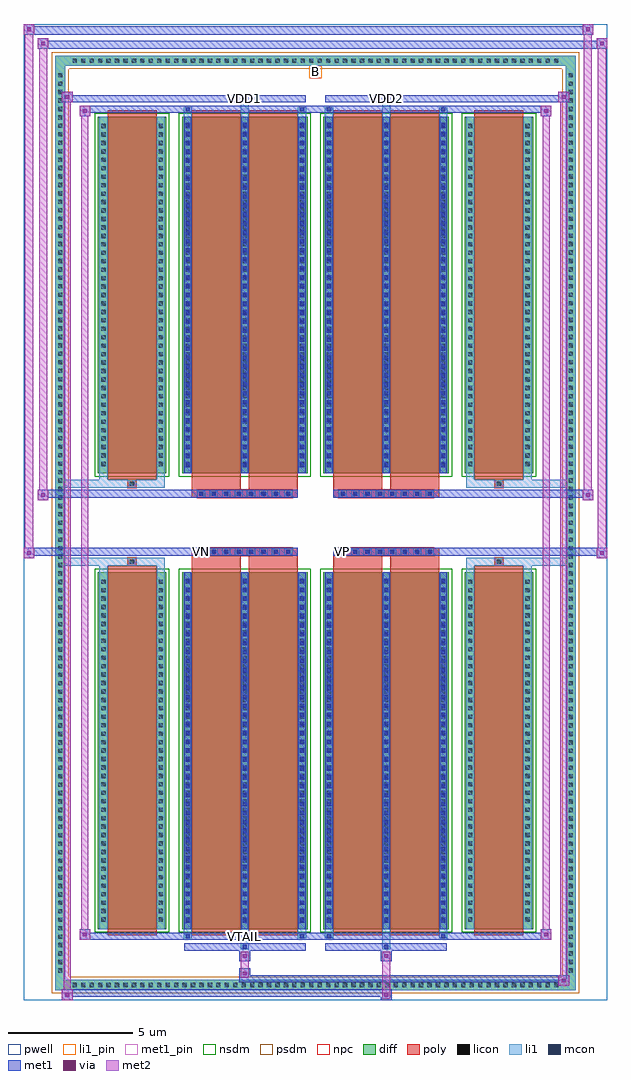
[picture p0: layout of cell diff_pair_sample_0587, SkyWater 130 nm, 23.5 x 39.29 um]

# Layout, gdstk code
import gdstk
lib = gdstk.Library(unit=1e-6, precision=5e-09)
def R(c, l, rs):  # rectangles x0, y0, x1, y1
    for r in rs: c.add(gdstk.rectangle(r[:2], r[2:], *l))
def A(c, l, x, y, w, h, nx, ny, dx, dy):  # array of equal rectangles
    R(c, l, [(x+i*dx, y+j*dy, x+i*dx+w, y+j*dy+h) for i in range(nx) for j in range(ny)])
def P(c, l, *ps):  # polygons
    for p in ps: c.add(gdstk.Polygon(p, *l))
pwell = (64, 44)
diff = (65, 20)
poly = (66, 20)
licon = (66, 44)
li1_pin = (67, 16)
li1 = (67, 20)
mcon = (67, 44)
met1_pin = (68, 16)
met1 = (68, 20)
via = (68, 44)
met2 = (69, 20)
nsdm = (93, 44)
psdm = (94, 20)
npc = (95, 20)

diff_pair_sample_0587 = lib.new_cell('diff_pair_sample_0587')
R(diff_pair_sample_0587, pwell, [(-11.75,-19.21,11.75,20.08), (-9.07,-17.4,-0.01,-0.8), (0.01,-17.4,9.07,-0.8), (-9.07,0.8,-0.01,17.4), (0.01,0.8,9.07,17.4)])
A(diff_pair_sample_0587, diff, -9.895, -18.81, 0.41, 0.41, 58, 2, 0.34, 37.21)
A(diff_pair_sample_0587, diff, -10.48, -18.225, 0.41, 0.41, 1, 107, 0, 0.34)
A(diff_pair_sample_0587, diff, 10.07, -18.225, 0.41, 0.41, 1, 107, 0, 0.34)
R(diff_pair_sample_0587, diff, [(-9.895,-18.81,9.895,-18.4), (-10.48,-18.225,-10.07,18.225), (10.07,-18.225,10.48,18.225), (-8.76,-16.355,-6.01,-1.985), (-5.37,-16.355,-0.32,-1.985), (0.32,-16.355,5.37,-1.985), (6.01,-16.355,8.76,-1.985), (-8.76,1.985,-6.01,16.355), (-5.37,1.985,-0.32,16.355), (0.32,1.985,5.37,16.355), (6.01,1.985,8.76,16.355), (-9.895,18.4,9.895,18.81)])
P(diff_pair_sample_0587, diff, [(10.48,18.81),(-10.48,18.81),(-10.48,-18.4),(-10.07,-18.4),(-10.07,18.4),(10.07,18.4),(10.07,-18.4),(-10.07,-18.4),(-10.48,-18.4),(-10.48,-18.81),(10.48,-18.81)])
A(diff_pair_sample_0587, poly, -4.76, -1.33, 0.33, 0.33, 8, 2, 0.5, 2.33)
A(diff_pair_sample_0587, poly, 0.93, -1.33, 0.33, 0.33, 8, 2, 0.5, 2.33)
R(diff_pair_sample_0587, poly, [(-8.37,-16.605,-6.4,-1.735), (-4.98,-16.605,-3.01,-1.735), (-2.68,-16.605,-0.71,-1.735), (0.71,-16.605,2.68,-1.735), (3.01,-16.605,4.98,-1.735), (6.4,-16.605,8.37,-1.735), (-7.55,-1.735,-7.22,-1.405), (-7.55,-1.735,-7.22,-1.405), (-4.98,-1.735,-3.01,-1.33), (-2.68,-1.735,-0.71,-1.33), (0.71,-1.735,2.68,-1.33), (3.01,-1.735,4.98,-1.33), (7.22,-1.735,7.55,-1.405), (7.22,-1.735,7.55,-1.405), (-4.98,-1.33,-0.71,-1), (0.71,-1.33,4.98,-1), (-4.98,1,-0.71,1.33), (0.71,1,4.98,1.33), (-4.98,1.33,-3.01,1.735), (-2.68,1.33,-0.71,1.735), (0.71,1.33,2.68,1.735), (3.01,1.33,4.98,1.735), (-7.55,1.405,-7.22,1.735), (-7.55,1.405,-7.22,1.735), (7.22,1.405,7.55,1.735), (7.22,1.405,7.55,1.735), (-8.37,1.735,-6.4,16.605), (-4.98,1.735,-3.01,16.605), (-2.68,1.735,-0.71,16.605), (0.71,1.735,2.68,16.605), (3.01,1.735,4.98,16.605), (6.4,1.735,8.37,16.605)])
A(diff_pair_sample_0587, licon, -9.775, -18.69, 0.17, 0.17, 58, 2, 0.34, 37.21)
A(diff_pair_sample_0587, licon, -10.36, -18.105, 0.17, 0.17, 1, 107, 0, 0.34)
A(diff_pair_sample_0587, licon, 10.19, -18.105, 0.17, 0.17, 1, 107, 0, 0.34)
A(diff_pair_sample_0587, licon, -8.62, -16.055, 0.17, 0.17, 1, 41, 0, 0.34)
A(diff_pair_sample_0587, licon, -6.32, -16.055, 0.17, 0.17, 1, 41, 0, 0.34)
A(diff_pair_sample_0587, licon, -5.23, -16.055, 0.17, 0.17, 3, 41, 2.3, 0.34)
A(diff_pair_sample_0587, licon, 0.46, -16.055, 0.17, 0.17, 3, 41, 2.3, 0.34)
A(diff_pair_sample_0587, licon, 6.15, -16.055, 0.17, 0.17, 1, 41, 0, 0.34)
A(diff_pair_sample_0587, licon, 8.45, -16.055, 0.17, 0.17, 1, 41, 0, 0.34)
A(diff_pair_sample_0587, licon, -4.68, -1.25, 0.17, 0.17, 8, 2, 0.5, 2.33)
A(diff_pair_sample_0587, licon, 1.01, -1.25, 0.17, 0.17, 8, 2, 0.5, 2.33)
A(diff_pair_sample_0587, licon, -8.62, 2.285, 0.17, 0.17, 1, 41, 0, 0.34)
A(diff_pair_sample_0587, licon, -6.32, 2.285, 0.17, 0.17, 1, 41, 0, 0.34)
A(diff_pair_sample_0587, licon, -5.23, 2.285, 0.17, 0.17, 3, 41, 2.3, 0.34)
A(diff_pair_sample_0587, licon, 0.46, 2.285, 0.17, 0.17, 3, 41, 2.3, 0.34)
A(diff_pair_sample_0587, licon, 6.15, 2.285, 0.17, 0.17, 1, 41, 0, 0.34)
A(diff_pair_sample_0587, licon, 8.45, 2.285, 0.17, 0.17, 1, 41, 0, 0.34)
R(diff_pair_sample_0587, licon, [(-7.47,-1.655,-7.3,-1.485), (7.3,-1.655,7.47,-1.485), (-7.47,1.485,-7.3,1.655), (7.3,1.485,7.47,1.655)])
R(diff_pair_sample_0587, li1_pin, [(-0.25,17.9,0.25,18.4)])
A(diff_pair_sample_0587, li1, -9.855, -18.77, 0.33, 0.33, 58, 2, 0.34, 37.21)
A(diff_pair_sample_0587, li1, -10.44, -18.185, 0.33, 0.33, 1, 107, 0, 0.34)
A(diff_pair_sample_0587, li1, 10.11, -18.185, 0.33, 0.33, 1, 107, 0, 0.34)
A(diff_pair_sample_0587, li1, -5.31, -16.355, 0.33, 14.37, 3, 2, 2.3, 18.34)
A(diff_pair_sample_0587, li1, 0.38, -16.355, 0.33, 14.37, 3, 2, 2.3, 18.34)
A(diff_pair_sample_0587, li1, -8.7, -16.135, 0.33, 0.33, 1, 41, 0, 0.34)
A(diff_pair_sample_0587, li1, -6.4, -16.135, 0.33, 0.33, 1, 41, 0, 0.34)
A(diff_pair_sample_0587, li1, -5.31, -16.135, 0.33, 0.33, 3, 41, 2.3, 0.34)
A(diff_pair_sample_0587, li1, 0.38, -16.135, 0.33, 0.33, 3, 41, 2.3, 0.34)
A(diff_pair_sample_0587, li1, 6.07, -16.135, 0.33, 0.33, 1, 41, 0, 0.34)
A(diff_pair_sample_0587, li1, 8.37, -16.135, 0.33, 0.33, 1, 41, 0, 0.34)
A(diff_pair_sample_0587, li1, -5.23, -16.095, 0.17, 0.17, 3, 39, 2.3, 0.36)
A(diff_pair_sample_0587, li1, -5.23, -16.095, 0.17, 13.85, 3, 2, 2.3, 18.34)
A(diff_pair_sample_0587, li1, 0.46, -16.095, 0.17, 0.17, 3, 39, 2.3, 0.36)
A(diff_pair_sample_0587, li1, 0.46, -16.095, 0.17, 13.85, 3, 2, 2.3, 18.34)
A(diff_pair_sample_0587, li1, -4.76, -1.33, 0.33, 0.33, 8, 2, 0.5, 2.33)
A(diff_pair_sample_0587, li1, 0.93, -1.33, 0.33, 0.33, 8, 2, 0.5, 2.33)
A(diff_pair_sample_0587, li1, -8.7, 2.205, 0.33, 0.33, 1, 41, 0, 0.34)
A(diff_pair_sample_0587, li1, -6.4, 2.205, 0.33, 0.33, 1, 41, 0, 0.34)
A(diff_pair_sample_0587, li1, -5.31, 2.205, 0.33, 0.33, 3, 41, 2.3, 0.34)
A(diff_pair_sample_0587, li1, 0.38, 2.205, 0.33, 0.33, 3, 41, 2.3, 0.34)
A(diff_pair_sample_0587, li1, 6.07, 2.205, 0.33, 0.33, 1, 41, 0, 0.34)
A(diff_pair_sample_0587, li1, 8.37, 2.205, 0.33, 0.33, 1, 41, 0, 0.34)
A(diff_pair_sample_0587, li1, -5.23, 2.245, 0.17, 0.17, 3, 39, 2.3, 0.36)
A(diff_pair_sample_0587, li1, 0.46, 2.245, 0.17, 0.17, 3, 39, 2.3, 0.36)
R(diff_pair_sample_0587, li1, [(-10.48,-18.81,-10.07,-18.4), (-10.48,-18.81,-10.07,-18.4), (-10.07,-18.81,10.07,-18.4), (10.07,-18.81,10.48,-18.4), (10.07,-18.81,10.48,-18.4), (-10.48,-18.4,-10.07,18.4), (10.07,-18.4,10.48,18.4), (-3.01,-17.16,-2.68,-16.355), (-2.93,-17.16,-2.76,-16.99), (2.68,-17.16,3.01,-16.355), (2.76,-17.16,2.93,-16.99), (-5.31,-16.73,-4.98,-16.355), (-5.23,-16.73,-5.06,-16.56), (-0.71,-16.73,-0.38,-16.355), (-0.63,-16.73,-0.46,-16.56), (0.38,-16.73,0.71,-16.355), (0.46,-16.73,0.63,-16.56), (4.98,-16.73,5.31,-16.355), (5.06,-16.73,5.23,-16.56), (-8.7,-16.355,-8.37,-1.985), (-6.4,-16.355,-6.07,-1.985), (6.07,-16.355,6.4,-1.985), (8.37,-16.355,8.7,-1.985), (-8.7,-1.985,-8.37,-1.405), (-6.4,-1.985,-6.07,-1.405), (6.07,-1.985,6.4,-1.405), (8.37,-1.985,8.7,-1.405), (-10.48,-1.735,-7.55,-1.405), (-8.7,-1.735,-7.55,-1.405), (-7.55,-1.735,-7.22,-1.405), (-7.22,-1.735,-6.07,-1.405), (6.07,-1.735,7.22,-1.405), (7.22,-1.735,7.55,-1.405), (7.22,-1.735,10.48,-1.405), (7.55,-1.735,8.7,-1.405), (-10.48,1.405,-7.55,1.735), (-8.7,1.405,-7.55,1.735), (-8.7,1.405,-8.37,1.985), (-7.55,1.405,-7.22,1.735), (-7.22,1.405,-6.07,1.735), (-6.4,1.405,-6.07,1.985), (6.07,1.405,7.22,1.735), (6.07,1.405,6.4,1.985), (7.22,1.405,7.55,1.735), (7.22,1.405,10.48,1.735), (7.55,1.405,8.7,1.735), (8.37,1.405,8.7,1.985), (-8.7,1.985,-8.37,16.355), (-6.4,1.985,-6.07,16.355), (6.07,1.985,6.4,16.355), (8.37,1.985,8.7,16.355), (-5.31,16.355,-4.98,16.73), (-3.01,16.355,-2.68,17.16), (-0.71,16.355,-0.38,16.73), (0.38,16.355,0.71,16.73), (2.68,16.355,3.01,17.16), (4.98,16.355,5.31,16.73), (-5.23,16.56,-5.06,16.73), (-0.63,16.56,-0.46,16.73), (0.46,16.56,0.63,16.73), (5.06,16.56,5.23,16.73), (-2.93,16.99,-2.76,17.16), (2.76,16.99,2.93,17.16), (-10.48,18.4,-10.07,18.81), (-10.48,18.4,-10.07,18.81), (-10.07,18.4,10.07,18.81), (10.07,18.4,10.48,18.81), (10.07,18.4,10.48,18.81)])
A(diff_pair_sample_0587, mcon, -5.23, -16.095, 0.17, 0.17, 3, 39, 2.3, 0.36)
A(diff_pair_sample_0587, mcon, 0.46, -16.095, 0.17, 0.17, 3, 39, 2.3, 0.36)
A(diff_pair_sample_0587, mcon, -4.68, -1.25, 0.17, 0.17, 8, 2, 0.5, 2.33)
A(diff_pair_sample_0587, mcon, 1.01, -1.25, 0.17, 0.17, 8, 2, 0.5, 2.33)
A(diff_pair_sample_0587, mcon, -5.23, 2.245, 0.17, 0.17, 3, 39, 2.3, 0.36)
A(diff_pair_sample_0587, mcon, 0.46, 2.245, 0.17, 0.17, 3, 39, 2.3, 0.36)
R(diff_pair_sample_0587, mcon, [(-2.93,-17.16,-2.76,-16.99), (2.76,-17.16,2.93,-16.99), (-5.23,-16.73,-5.06,-16.56), (-0.63,-16.73,-0.46,-16.56), (0.46,-16.73,0.63,-16.56), (5.06,-16.73,5.23,-16.56), (-5.23,16.56,-5.06,16.73), (-0.63,16.56,-0.46,16.73), (0.46,16.56,0.63,16.73), (5.06,16.56,5.23,16.73), (-2.93,16.99,-2.76,17.16), (2.76,16.99,2.93,17.16)])
R(diff_pair_sample_0587, met1_pin, [(-2.98,-16.77,-2.71,-16.5), (-4.73,-1.29,-4.46,-1.02), (0.96,-1.29,1.23,-1.02), (-2.98,16.95,-2.71,17.22), (2.71,16.95,2.98,17.22)])
A(diff_pair_sample_0587, met1, -5.29, -16.355, 0.29, 14.37, 3, 2, 2.3, 18.34)
A(diff_pair_sample_0587, met1, 0.4, -16.355, 0.29, 14.37, 3, 2, 2.3, 18.34)
A(diff_pair_sample_0587, met1, -5.29, -16.155, 0.29, 0.29, 3, 39, 2.3, 0.36)
A(diff_pair_sample_0587, met1, 0.4, -16.155, 0.29, 0.29, 3, 39, 2.3, 0.36)
A(diff_pair_sample_0587, met1, -4.74, -1.31, 0.29, 0.29, 8, 2, 0.5, 2.33)
A(diff_pair_sample_0587, met1, 0.95, -1.31, 0.29, 0.29, 8, 2, 0.5, 2.33)
A(diff_pair_sample_0587, met1, -5.29, 2.185, 0.29, 0.29, 3, 39, 2.3, 0.36)
A(diff_pair_sample_0587, met1, 0.4, 2.185, 0.29, 0.29, 3, 39, 2.3, 0.36)
R(diff_pair_sample_0587, met1, [(-10.21,-19.21,-9.78,-18.78), (2.63,-19.21,3.06,-18.78), (-10.21,-19.07,3.06,-18.78), (9.78,-18.64,10.21,-18.21), (-3.06,-18.5,10.21,-18.21), (-3.06,-18.36,-2.63,-17.93), (-3.06,-17.65,-2.63,-17.22), (2.63,-17.65,3.06,-17.22), (-5.29,-17.22,-0.4,-16.93), (-2.99,-17.22,-2.7,-16.93), (0.4,-17.22,5.29,-16.93), (2.7,-17.22,2.99,-16.93), (-9.5,-16.79,-9.07,-16.36), (-9.5,-16.79,-5.29,-16.5), (-5.29,-16.79,-5,-16.5), (-5.29,-16.79,-0.4,-16.5), (-0.69,-16.79,-0.4,-16.5), (-0.4,-16.79,0.4,-16.5), (0.4,-16.79,0.69,-16.5), (0.4,-16.79,5.29,-16.5), (5,-16.79,5.29,-16.5), (5.29,-16.79,9.5,-16.5), (9.07,-16.79,9.5,-16.36), (-11.75,-1.43,-11.32,-1), (11.32,-1.43,11.75,-1), (-11.75,-1.33,-0.71,-1), (-4.98,-1.33,-0.71,-1), (0.71,-1.33,4.98,-1), (0.71,-1.33,11.75,-1), (-11.18,0.9,-10.75,1.33), (10.75,0.9,11.18,1.33), (-11.18,1,-4.98,1.33), (-4.98,1,-0.71,1.33), (0.71,1,4.98,1.33), (4.98,1,11.18,1.33), (-9.5,16.36,-9.07,16.79), (9.07,16.36,9.5,16.79), (-9.5,16.5,-5.29,16.79), (-5.29,16.5,-5,16.79), (-5.29,16.5,-0.4,16.79), (-0.69,16.5,-0.4,16.79), (-0.4,16.5,0.4,16.79), (0.4,16.5,0.69,16.79), (0.4,16.5,5.29,16.79), (5,16.5,5.29,16.79), (5.29,16.5,9.5,16.79), (-10.21,16.93,-9.78,17.36), (-10.21,16.93,-5.29,17.22), (-5.29,16.93,-0.4,17.22), (-2.99,16.93,-2.7,17.22), (0.4,16.93,5.29,17.22), (2.7,16.93,2.99,17.22), (5.29,16.93,10.21,17.22), (9.78,16.93,10.21,17.36), (-11.18,19.08,-10.75,19.51), (-11.18,19.08,-9.07,19.41), (-9.07,19.08,9.07,19.41), (9.07,19.08,11.75,19.41), (11.32,19.08,11.75,19.51), (-11.75,19.65,-11.32,20.08), (-11.75,19.65,-9.07,19.98), (-9.07,19.65,9.07,19.98), (9.07,19.65,11.18,19.98), (10.75,19.65,11.18,20.08)])
R(diff_pair_sample_0587, via, [(-10.07,-19.07,-9.92,-18.92), (2.77,-19.07,2.92,-18.92), (9.92,-18.5,10.07,-18.35), (-2.92,-18.22,-2.77,-18.07), (-2.92,-17.51,-2.77,-17.36), (2.77,-17.51,2.92,-17.36), (-9.36,-16.65,-9.21,-16.5), (9.21,-16.65,9.36,-16.5), (-11.61,-1.29,-11.46,-1.14), (11.46,-1.29,11.61,-1.14), (-11.04,1.04,-10.89,1.19), (10.89,1.04,11.04,1.19), (-9.36,16.5,-9.21,16.65), (9.21,16.5,9.36,16.65), (-10.07,17.07,-9.92,17.22), (9.92,17.07,10.07,17.22), (-11.04,19.22,-10.89,19.37), (11.46,19.22,11.61,19.37), (-11.61,19.79,-11.46,19.94), (10.89,19.79,11.04,19.94)])
R(diff_pair_sample_0587, met2, [(-10.21,-19.21,-9.78,-18.78), (-10.14,-19.21,-9.85,17.36), (-9.85,-19.21,-9.78,-18.78), (-10.16,-19.16,-9.83,-18.83), (2.68,-19.16,3.01,-18.83), (2.68,-18.83,3.01,-17.6), (9.78,-18.64,10.21,-18.21), (9.85,-18.64,10.14,17.36), (10.14,-18.64,10.21,-18.21), (9.83,-18.59,10.16,-18.26), (-3.01,-18.31,-2.68,-17.98), (-3.01,-17.98,-2.68,-17.6), (-3.01,-17.6,-2.68,-17.27), (2.68,-17.6,3.01,-17.27), (-9.5,-16.79,-9.07,-16.36), (-9.43,-16.79,-9.14,16.79), (-9.14,-16.79,-9.07,-16.36), (9.07,-16.79,9.5,-16.36), (9.14,-16.79,9.43,16.79), (9.43,-16.79,9.5,-16.36), (-9.45,-16.74,-9.12,-16.41), (9.12,-16.74,9.45,-16.41), (-11.75,-1.43,-11.32,-1), (-11.7,-1.43,-11.37,20.08), (-11.37,-1.43,-11.32,-1), (11.32,-1.43,11.75,-1), (11.37,-1.43,11.7,19.51), (11.7,-1.43,11.75,-1), (-11.7,-1.38,-11.37,-1.05), (11.37,-1.38,11.7,-1.05), (-11.18,0.9,-10.75,1.33), (-11.13,0.9,-10.8,19.51), (-10.8,0.9,-10.75,1.33), (10.75,0.9,11.18,1.33), (10.8,0.9,11.13,20.08), (11.13,0.9,11.18,1.33), (-11.13,0.95,-10.8,1.28), (10.8,0.95,11.13,1.28), (-9.5,16.36,-9.07,16.79), (-9.14,16.36,-9.07,16.79), (9.07,16.36,9.5,16.79), (9.43,16.36,9.5,16.79), (-9.45,16.41,-9.12,16.74), (9.12,16.41,9.45,16.74), (-10.21,16.93,-9.78,17.36), (-9.85,16.93,-9.78,17.36), (9.78,16.93,10.21,17.36), (10.14,16.93,10.21,17.36), (-10.16,16.98,-9.83,17.31), (9.83,16.98,10.16,17.31), (-11.18,19.08,-10.75,19.51), (-10.8,19.08,-10.75,19.51), (11.32,19.08,11.75,19.51), (11.7,19.08,11.75,19.51), (-11.13,19.13,-10.8,19.46), (11.37,19.13,11.7,19.46), (-11.75,19.65,-11.32,20.08), (-11.37,19.65,-11.32,20.08), (10.75,19.65,11.18,20.08), (11.13,19.65,11.18,20.08), (-11.7,19.7,-11.37,20.03), (10.8,19.7,11.13,20.03)])
R(diff_pair_sample_0587, nsdm, [(-8.89,-16.485,-5.88,-1.855), (-5.5,-16.485,-0.19,-1.855), (0.19,-16.485,5.5,-1.855), (5.88,-16.485,8.89,-1.855), (-8.89,1.855,-5.88,16.485), (-5.5,1.855,-0.19,16.485), (0.19,1.855,5.5,16.485), (5.88,1.855,8.89,16.485)])
P(diff_pair_sample_0587, psdm, [(10.61,18.94),(-10.61,18.94),(-10.61,-18.27),(-9.94,-18.27),(-9.94,18.27),(9.94,18.27),(9.94,-18.27),(-9.94,-18.27),(-10.61,-18.27),(-10.61,-18.94),(10.61,-18.94)])
A(diff_pair_sample_0587, npc, -4.78, -1.35, 0.37, 0.37, 8, 2, 0.5, 2.33)
A(diff_pair_sample_0587, npc, 0.91, -1.35, 0.37, 0.37, 8, 2, 0.5, 2.33)
R(diff_pair_sample_0587, npc, [(-7.57,-1.755,-7.2,-1.385), (7.2,-1.755,7.57,-1.385), (-4.78,-1.35,-3.91,-0.98), (-4.78,-1.35,-3.91,-0.98), (-4.28,-1.35,-3.41,-0.98), (-4.28,-1.35,-3.41,-0.98), (-3.78,-1.35,-2.91,-0.98), (-3.78,-1.35,-2.91,-0.98), (-3.28,-1.35,-2.41,-0.98), (-3.28,-1.35,-2.41,-0.98), (-2.78,-1.35,-1.91,-0.98), (-2.78,-1.35,-1.91,-0.98), (-2.28,-1.35,-1.41,-0.98), (-2.28,-1.35,-1.41,-0.98), (-1.78,-1.35,-0.91,-0.98), (-1.78,-1.35,-0.91,-0.98), (0.91,-1.35,1.78,-0.98), (0.91,-1.35,1.78,-0.98), (1.41,-1.35,2.28,-0.98), (1.41,-1.35,2.28,-0.98), (1.91,-1.35,2.78,-0.98), (1.91,-1.35,2.78,-0.98), (2.41,-1.35,3.28,-0.98), (2.41,-1.35,3.28,-0.98), (2.91,-1.35,3.78,-0.98), (2.91,-1.35,3.78,-0.98), (3.41,-1.35,4.28,-0.98), (3.41,-1.35,4.28,-0.98), (3.91,-1.35,4.78,-0.98), (3.91,-1.35,4.78,-0.98), (-4.78,0.98,-3.91,1.35), (-4.78,0.98,-3.91,1.35), (-4.28,0.98,-3.41,1.35), (-4.28,0.98,-3.41,1.35), (-3.78,0.98,-2.91,1.35), (-3.78,0.98,-2.91,1.35), (-3.28,0.98,-2.41,1.35), (-3.28,0.98,-2.41,1.35), (-2.78,0.98,-1.91,1.35), (-2.78,0.98,-1.91,1.35), (-2.28,0.98,-1.41,1.35), (-2.28,0.98,-1.41,1.35), (-1.78,0.98,-0.91,1.35), (-1.78,0.98,-0.91,1.35), (0.91,0.98,1.78,1.35), (0.91,0.98,1.78,1.35), (1.41,0.98,2.28,1.35), (1.41,0.98,2.28,1.35), (1.91,0.98,2.78,1.35), (1.91,0.98,2.78,1.35), (2.41,0.98,3.28,1.35), (2.41,0.98,3.28,1.35), (2.91,0.98,3.78,1.35), (2.91,0.98,3.78,1.35), (3.41,0.98,4.28,1.35), (3.41,0.98,4.28,1.35), (3.91,0.98,4.78,1.35), (3.91,0.98,4.78,1.35), (-7.57,1.385,-7.2,1.755), (7.2,1.385,7.57,1.755)])
diff_pair_sample_0587.add(gdstk.Label('VTAIL', (-2.845,-16.635), layer=68, texttype=5))
diff_pair_sample_0587.add(gdstk.Label('VN', (-4.595,-1.155), layer=68, texttype=5))
diff_pair_sample_0587.add(gdstk.Label('VP', (1.095,-1.155), layer=68, texttype=5))
diff_pair_sample_0587.add(gdstk.Label('B', (0,18.15), layer=67, texttype=5))
diff_pair_sample_0587.add(gdstk.Label('VDD2', (2.845,17.085), layer=68, texttype=5))
diff_pair_sample_0587.add(gdstk.Label('VDD1', (-2.845,17.085), layer=68, texttype=5))

lib.write_gds('diff_pair_sample_0587.gds')
